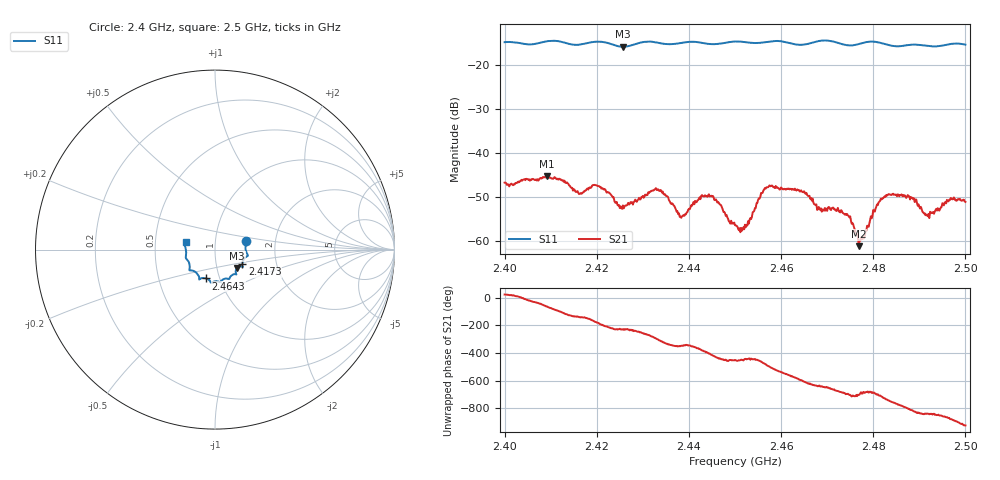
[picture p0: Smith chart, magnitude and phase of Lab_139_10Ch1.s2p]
# Hz S RI R 50
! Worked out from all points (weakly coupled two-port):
!   601 points, 2.4 GHz to 2.5 GHz, reference 50 ohm
!   highest |S21| = -45.33 dB at 2.4092 GHz (marker M1); lowest = -61.1 dB at 2.4768 GHz (marker M2)
!   lowest |S11| = -15.9 dB at 2.4257 GHz (marker M3), VSWR 1.38, Z = 62.5 - j13.1 ohm
!   |S11| at or under -10 dB: start of sweep to end of sweep
!   S12 and S22 are empty: the file has one direction only
!   S11 on the Smith chart (normalised r, x): 2.4 GHz: 1.41, +0.14; 2.4173 GHz: 1.34, -0.23; 2.4643 GHz: 0.86, -0.28; 2.5 GHz: 0.72, +0.06
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2.4e9  0.1731 0.0496  0.00428 0.00173  0 0  0 0
2.409167e9  0.1821 -0.0293  0.00236 -0.00487  0 0  0 0
2.416667e9  0.153 -0.0748  -0.00268 -0.00218  0 0  0 0
2.417333e9  0.1523 -0.0824  -0.00295 -0.00228  0 0  0 0
2.420333e9  0.1547 -0.097  -0.0042 0.000184  0 0  0 0
2.425667e9  0.1226 -0.1021  -0.00169 0.0019  0 0  0 0
2.433333e9  0.1127 -0.1366  0.00211 0.00325  0 0  0 0
2.4385e9  0.0819 -0.1572  0.00186 0.000426  0 0  0 0
2.444833e9  0.0568 -0.1617  0.00201 -0.00259  0 0  0 0
2.45e9  0.0297 -0.1809  9.41e-06 -0.00152  0 0  0 0
2.4525e9  0.0205 -0.1785  0.000124 -0.00152  0 0  0 0
2.457e9  -0.0135 -0.1811  -0.00264 -0.00312  0 0  0 0
2.464333e9  -0.0502 -0.1605  -0.00217 0.00308  0 0  0 0
2.466667e9  -0.0763 -0.1598  -0.000166 0.00288  0 0  0 0
2.4745e9  -0.102 -0.1311  0.00176 0.00086  0 0  0 0
2.476833e9  -0.1253 -0.1171  0.000838 0.000263  0 0  0 0
2.481167e9  -0.1424 -0.1084  0.00267 0.000688  0 0  0 0
2.483333e9  -0.1409 -0.0895  0.00317 -0.00124  0 0  0 0
2.488e9  -0.1602 -0.0508  4.59e-05 -0.00297  0 0  0 0
2.491667e9  -0.161 -0.0286  -0.00087 -0.00176  0 0  0 0
2.497e9  -0.1704 0.0267  -0.0028 -0.00119  0 0  0 0
2.5e9  -0.1636 0.042  -0.00258 0.00106  0 0  0 0
